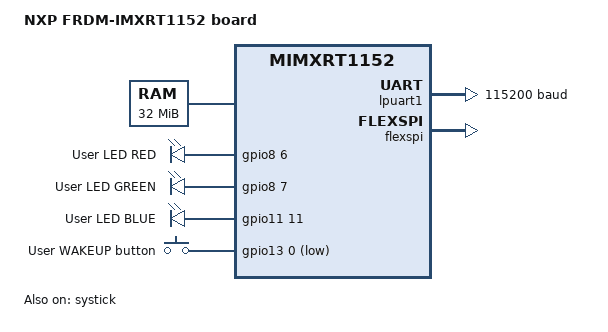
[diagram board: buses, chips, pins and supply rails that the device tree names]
/*
 * SPDX-FileCopyrightText: Copyright 2026 NXP
 *
 * SPDX-License-Identifier: Apache-2.0
 */

/dts-v1/;

#include <nxp/imxrt/nxp_rt1152.dtsi>
#include "frdm_imxrt1152-pinctrl.dtsi"
#include <zephyr/dt-bindings/input/input-event-codes.h>

/ {
	model = "NXP FRDM-IMXRT1152 board";
	compatible = "nxp,mimxrt1152";

	aliases {
		led0 = &green_led;
		led1 = &red_led;
		led2 = &blue_led;
		sw0 = &user_button;
	};

	chosen {
		zephyr,sram = &hyperram0;
		zephyr,dtcm = &dtcm;
		zephyr,itcm = &itcm;
		zephyr,console = &lpuart1;
		zephyr,shell-uart = &lpuart1;
		zephyr,flash = &w25q512nw;
		zephyr,flash-controller = &ext_flash_ctrl;
	};

	/*
	 * Winbond W959D8NFYA5 256Mb HyperRAM on FlexSPI2 port A, configured
	 * by the boot ROM through the external memory configuration data
	 * (XMCD) block. A second HyperRAM on port B is not configured, as
	 * the simplified XMCD option block supports a single port.
	 */
	hyperram0: memory@60000000 {
		device_type = "memory";
		reg = <0x60000000 DT_SIZE_M(32)>;
	};

	leds {
		compatible = "gpio-leds";

		red_led: led-1 {
			gpios = <&gpio8 6 GPIO_ACTIVE_HIGH>;
			label = "User LED RED";
		};

		green_led: led-2 {
			gpios = <&gpio8 7 GPIO_ACTIVE_HIGH>;
			label = "User LED GREEN";
		};

		blue_led: led-3 {
			gpios = <&gpio11 11 GPIO_ACTIVE_HIGH>;
			label = "User LED BLUE";
		};
	};

	gpio_keys {
		compatible = "gpio-keys";

		user_button: button-1 {
			label = "User WAKEUP button";
			gpios = <&gpio13 0 GPIO_ACTIVE_LOW>;
			zephyr,code = <INPUT_KEY_0>;
		};
	};
};

&cpu0 {
	clock-frequency = <DT_FREQ_M(798)>;
};

&lpuart1 {
	status = "okay";
	pinctrl-0 = <&pinmux_lpuart1>;
	pinctrl-1 = <&pinmux_lpuart1_sleep>;
	pinctrl-names = "default", "sleep";
	current-speed = <115200>;
};

&green_led {
	status = "okay";
};

&user_button {
	status = "okay";
};

&flexspi {
	status = "okay";
	ahb-prefetch;
	ahb-read-addr-opt;
	rx-clock-source = <1>;
	pinctrl-0 = <&pinmux_flexspi1>;
	pinctrl-names = "default";
	reg = <0x400cc000 0x4000>, <0x30000000 DT_SIZE_M(64)>;

	/*
	 * The FlexSPI NOR flash controller is intentionally disabled: the
	 * boot ROM configures FlexSPI1 for XIP and runtime flash access is
	 * not supported yet. The chosen zephyr,flash-controller entry is
	 * still required so the build system can resolve the XIP setup.
	 */
	ext_flash_ctrl: flash-controller@0 {
		compatible = "nxp,imx-flexspi-nor";
		size = <DT_SIZE_M(64*8)>;
		reg = <0>;
		spi-max-frequency = <DT_FREQ_M(133)>;
		status = "disabled";
		jedec-id = [ef 60 20];

		#address-cells = <1>;
		#size-cells = <1>;
		ranges = <0x0 0x30000000 DT_SIZE_M(64)>;

		w25q512nw: flash@0 {
			compatible = "soc-nv-flash";
			reg = <0x0 DT_SIZE_M(64)>;
			erase-block-size = <DT_SIZE_K(4)>;
			write-block-size = <1>;

			#address-cells = <1>;
			#size-cells = <1>;
			ranges;
		};
	};
};

&systick {
	status = "okay";
};

/*
 * The MIMXRT1152XHM8B on this board comes in the HM (232 MAPBGA)
 * package, which bonds fewer pads than the VM (289 MAPBGA) parts.
 * Mark the unbonded GPIO pins as reserved and compact the GPIO pinmux
 * maps (inherited from nxp_rt11xx_cm7.dtsi) to the bonded pads.
 */
&gpio10 {
	gpio-reserved-ranges = <21 6>;
	pinmux = <&iomuxc_gpio_ad_33_gpio10_io00>,
		 <&iomuxc_gpio_ad_34_gpio10_io01>,
		 <&iomuxc_gpio_ad_35_gpio10_io02>,
		 <&iomuxc_gpio_sd_b1_00_gpio10_io03>,
		 <&iomuxc_gpio_sd_b1_01_gpio10_io04>,
		 <&iomuxc_gpio_sd_b1_02_gpio10_io05>,
		 <&iomuxc_gpio_sd_b1_03_gpio10_io06>,
		 <&iomuxc_gpio_sd_b1_04_gpio10_io07>,
		 <&iomuxc_gpio_sd_b1_05_gpio10_io08>,
		 <&iomuxc_gpio_sd_b2_00_gpio10_io09>,
		 <&iomuxc_gpio_sd_b2_01_gpio10_io10>,
		 <&iomuxc_gpio_sd_b2_02_gpio10_io11>,
		 <&iomuxc_gpio_sd_b2_03_gpio10_io12>,
		 <&iomuxc_gpio_sd_b2_04_gpio10_io13>,
		 <&iomuxc_gpio_sd_b2_05_gpio10_io14>,
		 <&iomuxc_gpio_sd_b2_06_gpio10_io15>,
		 <&iomuxc_gpio_sd_b2_07_gpio10_io16>,
		 <&iomuxc_gpio_sd_b2_08_gpio10_io17>,
		 <&iomuxc_gpio_sd_b2_09_gpio10_io18>,
		 <&iomuxc_gpio_sd_b2_10_gpio10_io19>,
		 <&iomuxc_gpio_sd_b2_11_gpio10_io20>,
		 <&iomuxc_gpio_disp_b1_06_gpio10_io27>,
		 <&iomuxc_gpio_disp_b1_07_gpio10_io28>,
		 <&iomuxc_gpio_disp_b1_08_gpio10_io29>,
		 <&iomuxc_gpio_disp_b1_09_gpio10_io30>,
		 <&iomuxc_gpio_disp_b1_10_gpio10_io31>;
};

&gpio12 {
	gpio-reserved-ranges = <0 2>, <5 5>;
	pinmux = <&iomuxc_lpsr_gpio_lpsr_02_gpio12_io02>,
		 <&iomuxc_lpsr_gpio_lpsr_03_gpio12_io03>,
		 <&iomuxc_lpsr_gpio_lpsr_04_gpio12_io04>,
		 <&iomuxc_lpsr_gpio_lpsr_10_gpio12_io10>,
		 <&iomuxc_lpsr_gpio_lpsr_11_gpio12_io11>,
		 <&iomuxc_lpsr_gpio_lpsr_12_gpio12_io12>,
		 <&iomuxc_lpsr_gpio_lpsr_13_gpio12_io13>,
		 <&iomuxc_lpsr_gpio_lpsr_14_gpio12_io14>,
		 <&iomuxc_lpsr_gpio_lpsr_15_gpio12_io15>;
};

&gpio13 {
	gpio-reserved-ranges = <3 10>;
	pinmux = <&iomuxc_snvs_wakeup_dig_gpio13_io00>,
		 <&iomuxc_snvs_pmic_on_req_dig_gpio13_io01>,
		 <&iomuxc_snvs_pmic_stby_req_dig_gpio13_io02>;
};

&gpio3 {
	gpio-reserved-ranges = <14 9>, <25 1>, <31 1>;
	pinmux = <&iomuxc_gpio_ad_01_gpio_mux3_io00>,
		 <&iomuxc_gpio_ad_02_gpio_mux3_io01>,
		 <&iomuxc_gpio_ad_03_gpio_mux3_io02>,
		 <&iomuxc_gpio_ad_04_gpio_mux3_io03>,
		 <&iomuxc_gpio_ad_05_gpio_mux3_io04>,
		 <&iomuxc_gpio_ad_06_gpio_mux3_io05>,
		 <&iomuxc_gpio_ad_07_gpio_mux3_io06>,
		 <&iomuxc_gpio_ad_08_gpio_mux3_io07>,
		 <&iomuxc_gpio_ad_09_gpio_mux3_io08>,
		 <&iomuxc_gpio_ad_10_gpio_mux3_io09>,
		 <&iomuxc_gpio_ad_11_gpio_mux3_io10>,
		 <&iomuxc_gpio_ad_12_gpio_mux3_io11>,
		 <&iomuxc_gpio_ad_13_gpio_mux3_io12>,
		 <&iomuxc_gpio_ad_14_gpio_mux3_io13>,
		 <&iomuxc_gpio_ad_24_gpio_mux3_io23>,
		 <&iomuxc_gpio_ad_25_gpio_mux3_io24>,
		 <&iomuxc_gpio_ad_27_gpio_mux3_io26>,
		 <&iomuxc_gpio_ad_28_gpio_mux3_io27>,
		 <&iomuxc_gpio_ad_29_gpio_mux3_io28>,
		 <&iomuxc_gpio_ad_30_gpio_mux3_io29>,
		 <&iomuxc_gpio_ad_31_gpio_mux3_io30>;
};

&fgpio3 {
	gpio-reserved-ranges = <14 9>, <25 1>, <31 1>;
	pinmux = <&iomuxc_gpio_ad_01_gpio_mux3_io00_cm7>,
		 <&iomuxc_gpio_ad_02_gpio_mux3_io01_cm7>,
		 <&iomuxc_gpio_ad_03_gpio_mux3_io02_cm7>,
		 <&iomuxc_gpio_ad_04_gpio_mux3_io03_cm7>,
		 <&iomuxc_gpio_ad_05_gpio_mux3_io04_cm7>,
		 <&iomuxc_gpio_ad_06_gpio_mux3_io05_cm7>,
		 <&iomuxc_gpio_ad_07_gpio_mux3_io06_cm7>,
		 <&iomuxc_gpio_ad_08_gpio_mux3_io07_cm7>,
		 <&iomuxc_gpio_ad_09_gpio_mux3_io08_cm7>,
		 <&iomuxc_gpio_ad_10_gpio_mux3_io09_cm7>,
		 <&iomuxc_gpio_ad_11_gpio_mux3_io10_cm7>,
		 <&iomuxc_gpio_ad_12_gpio_mux3_io11_cm7>,
		 <&iomuxc_gpio_ad_13_gpio_mux3_io12_cm7>,
		 <&iomuxc_gpio_ad_14_gpio_mux3_io13_cm7>,
		 <&iomuxc_gpio_ad_24_gpio_mux3_io23_cm7>,
		 <&iomuxc_gpio_ad_25_gpio_mux3_io24_cm7>,
		 <&iomuxc_gpio_ad_27_gpio_mux3_io26_cm7>,
		 <&iomuxc_gpio_ad_28_gpio_mux3_io27_cm7>,
		 <&iomuxc_gpio_ad_29_gpio_mux3_io28_cm7>,
		 <&iomuxc_gpio_ad_30_gpio_mux3_io29_cm7>,
		 <&iomuxc_gpio_ad_31_gpio_mux3_io30_cm7>;
};

&gpio4 {
	gpio-reserved-ranges = <21 6>;
	pinmux = <&iomuxc_gpio_ad_33_gpio_mux4_io00>,
		 <&iomuxc_gpio_ad_34_gpio_mux4_io01>,
		 <&iomuxc_gpio_ad_35_gpio_mux4_io02>,
		 <&iomuxc_gpio_sd_b1_00_gpio_mux4_io03>,
		 <&iomuxc_gpio_sd_b1_01_gpio_mux4_io04>,
		 <&iomuxc_gpio_sd_b1_02_gpio_mux4_io05>,
		 <&iomuxc_gpio_sd_b1_03_gpio_mux4_io06>,
		 <&iomuxc_gpio_sd_b1_04_gpio_mux4_io07>,
		 <&iomuxc_gpio_sd_b1_05_gpio_mux4_io08>,
		 <&iomuxc_gpio_sd_b2_00_gpio_mux4_io09>,
		 <&iomuxc_gpio_sd_b2_01_gpio_mux4_io10>,
		 <&iomuxc_gpio_sd_b2_02_gpio_mux4_io11>,
		 <&iomuxc_gpio_sd_b2_03_gpio_mux4_io12>,
		 <&iomuxc_gpio_sd_b2_04_gpio_mux4_io13>,
		 <&iomuxc_gpio_sd_b2_05_gpio_mux4_io14>,
		 <&iomuxc_gpio_sd_b2_06_gpio_mux4_io15>,
		 <&iomuxc_gpio_sd_b2_07_gpio_mux4_io16>,
		 <&iomuxc_gpio_sd_b2_08_gpio_mux4_io17>,
		 <&iomuxc_gpio_sd_b2_09_gpio_mux4_io18>,
		 <&iomuxc_gpio_sd_b2_10_gpio_mux4_io19>,
		 <&iomuxc_gpio_sd_b2_11_gpio_mux4_io20>,
		 <&iomuxc_gpio_disp_b1_06_gpio_mux4_io27>,
		 <&iomuxc_gpio_disp_b1_07_gpio_mux4_io28>,
		 <&iomuxc_gpio_disp_b1_08_gpio_mux4_io29>,
		 <&iomuxc_gpio_disp_b1_09_gpio_mux4_io30>,
		 <&iomuxc_gpio_disp_b1_10_gpio_mux4_io31>;
};

&gpio6 {
	gpio-reserved-ranges = <0 2>, <5 5>;
	pinmux = <&iomuxc_lpsr_gpio_lpsr_02_gpio_mux6_io02>,
		 <&iomuxc_lpsr_gpio_lpsr_03_gpio_mux6_io03>,
		 <&iomuxc_lpsr_gpio_lpsr_04_gpio_mux6_io04>,
		 <&iomuxc_lpsr_gpio_lpsr_10_gpio_mux6_io10>,
		 <&iomuxc_lpsr_gpio_lpsr_11_gpio_mux6_io11>,
		 <&iomuxc_lpsr_gpio_lpsr_12_gpio_mux6_io12>,
		 <&iomuxc_lpsr_gpio_lpsr_13_gpio_mux6_io13>,
		 <&iomuxc_lpsr_gpio_lpsr_14_gpio_mux6_io14>,
		 <&iomuxc_lpsr_gpio_lpsr_15_gpio_mux6_io15>;
};

&gpio9 {
	gpio-reserved-ranges = <14 9>, <25 1>, <31 1>;
	pinmux = <&iomuxc_gpio_ad_01_gpio9_io00>,
		 <&iomuxc_gpio_ad_02_gpio9_io01>,
		 <&iomuxc_gpio_ad_03_gpio9_io02>,
		 <&iomuxc_gpio_ad_04_gpio9_io03>,
		 <&iomuxc_gpio_ad_05_gpio9_io04>,
		 <&iomuxc_gpio_ad_06_gpio9_io05>,
		 <&iomuxc_gpio_ad_07_gpio9_io06>,
		 <&iomuxc_gpio_ad_08_gpio9_io07>,
		 <&iomuxc_gpio_ad_09_gpio9_io08>,
		 <&iomuxc_gpio_ad_10_gpio9_io09>,
		 <&iomuxc_gpio_ad_11_gpio9_io10>,
		 <&iomuxc_gpio_ad_12_gpio9_io11>,
		 <&iomuxc_gpio_ad_13_gpio9_io12>,
		 <&iomuxc_gpio_ad_14_gpio9_io13>,
		 <&iomuxc_gpio_ad_24_gpio9_io23>,
		 <&iomuxc_gpio_ad_25_gpio9_io24>,
		 <&iomuxc_gpio_ad_27_gpio9_io26>,
		 <&iomuxc_gpio_ad_28_gpio9_io27>,
		 <&iomuxc_gpio_ad_29_gpio9_io28>,
		 <&iomuxc_gpio_ad_30_gpio9_io29>,
		 <&iomuxc_gpio_ad_31_gpio9_io30>;
};
